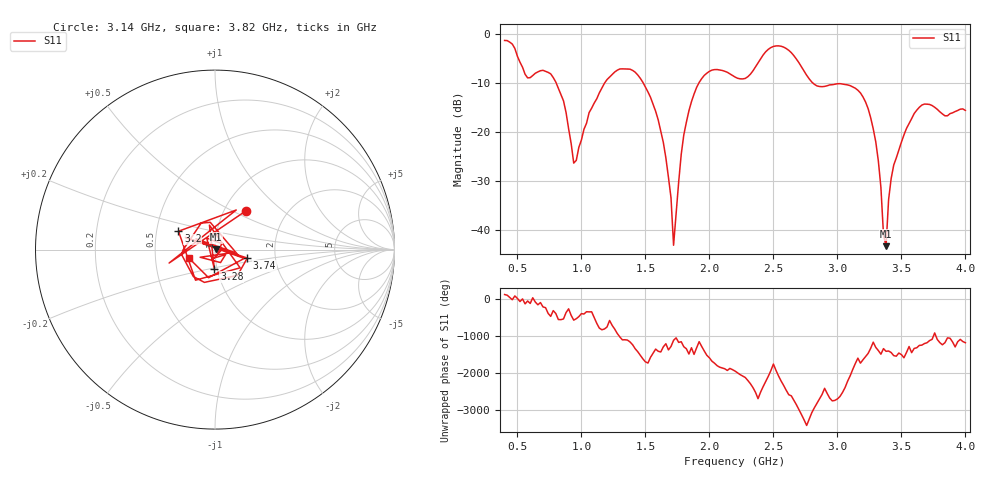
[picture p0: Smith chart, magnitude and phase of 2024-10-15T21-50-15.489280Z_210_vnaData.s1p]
! Created with skrf (http://scikit-rf.org).
# Hz S RI R 50.0
!freq ReS11 ImS11
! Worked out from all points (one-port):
!   181 points, 400 MHz to 4 GHz, reference 50 ohm
!   lowest |S11| = -43.4 dB at 3.38 GHz (marker M1), VSWR 1.01, Z = 50.6 + j0.257 ohm
!   |S11| at or under -10 dB: 802.8 MHz to 1.182 GHz (378.8 MHz wide, 38.2 % of centre); 1.483 GHz to 1.918 GHz (435 MHz wide, 25.6 % of centre); 2.808 GHz to end of sweep
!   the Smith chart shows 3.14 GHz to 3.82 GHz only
!   S11 on the Smith chart (normalised r, x): 3.14 GHz: 1.27, +0.60; 3.2 GHz: 0.65, +0.14; 3.28 GHz: 0.97, -0.21; 3.74 GHz: 1.43, -0.14; 3.82 GHz: 0.74, -0.07
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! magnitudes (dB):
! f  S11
! 400 MHz  -1.3
! 860 MHz  -13.6
! 940 MHz  -26.4
! 1.06 GHz  -16.1
! 1.3 GHz  -7.1
! 1.44 GHz  -8.4
! 1.58 GHz  -15.8
! 1.66 GHz  -25.3
! 1.7 GHz  -33.5
! 1.72 GHz  -43.2
! 1.76 GHz  -30.2
! 1.82 GHz  -18.0
! 1.92 GHz  -9.9
! 2.2 GHz  -8.8
! 2.5 GHz  -2.5
! 2.66 GHz  -4.4
! 2.84 GHz  -10.6
! 3.1 GHz  -10.5
! 3.14 GHz  -11.1
! 3.2 GHz  -12.9
! 3.28 GHz  -19.4
! 3.32 GHz  -26.0
! 3.38 GHz  -43.4
! 3.42 GHz  -29.5
! 3.56 GHz  -18.3
! 3.74 GHz  -14.6
! 3.82 GHz  -16.3
! 4 GHz  -15.6
